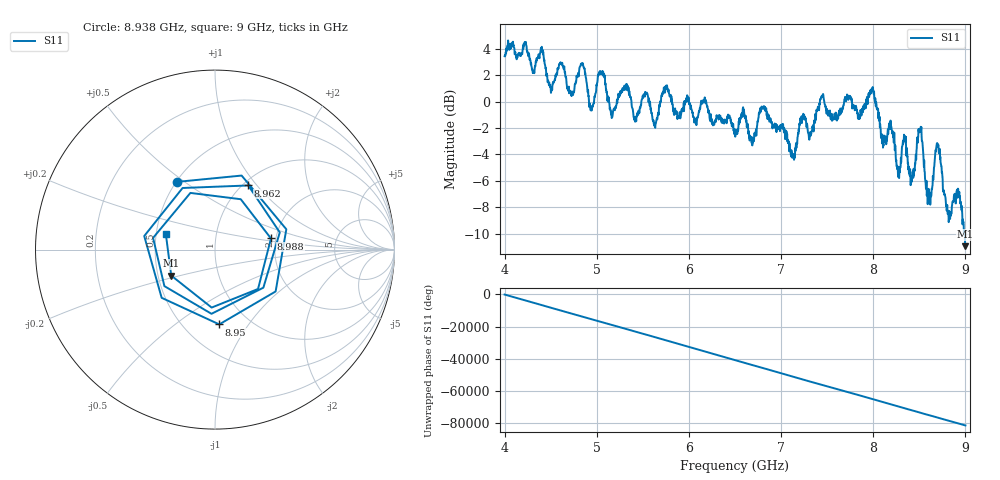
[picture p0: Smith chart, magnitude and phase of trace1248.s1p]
! Created with skrf 1.8.0 (http://scikit-rf.org).
# Hz S RI R 50.0
!freq ReS11 ImS11
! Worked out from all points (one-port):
!   1601 points, 4 GHz to 9 GHz, reference 50 ohm
!   lowest |S11| = -10.9 dB at 8.997 GHz (marker M1), VSWR 1.79, Z = 29.3 - j9.24 ohm
!   |S11| at or under -10 dB: 8.983895 GHz to 8.985477 GHz (1.582 MHz wide, 0.0176 % of centre); 8.994514 GHz to end of sweep
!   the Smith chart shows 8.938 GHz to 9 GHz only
!   S11 on the Smith chart (normalised r, x): 8.938 GHz: 0.50, +0.47; 8.95 GHz: 0.73, -0.74; 8.962 GHz: 1.06, +0.90; 8.988 GHz: 1.88, +0.26; 9 GHz: 0.56, +0.11
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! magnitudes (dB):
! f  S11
! 4 GHz  3.4
! 4.625 GHz  2.9
! 4.725 GHz  0.4
! 4.844 GHz  2.8
! 4.941 GHz  -0.4
! 5.044 GHz  2.2
! 5.162 GHz  -1.2
! 5.25 GHz  0.4
! 5.875 GHz  -1.3
! 6.5 GHz  -2.1
! 6.812 GHz  -0.3
! 7.125 GHz  -4.0
! 7.441 GHz  0.4
! 7.75 GHz  0.4
! 7.988 GHz  0.9
! 8.272 GHz  -5.4
! 8.375 GHz  -4.7
! 8.428 GHz  -5.3
! 8.509 GHz  -2.1
! 8.606 GHz  -7.2
! 8.697 GHz  -3.2
! 8.812 GHz  -8.3
! 8.938 GHz  -7.3
! 8.95 GHz  -7.6
! 8.962 GHz  -7.9
! 8.988 GHz  -10.0
! 8.997 GHz  -10.9
! 9 GHz  -10.8
